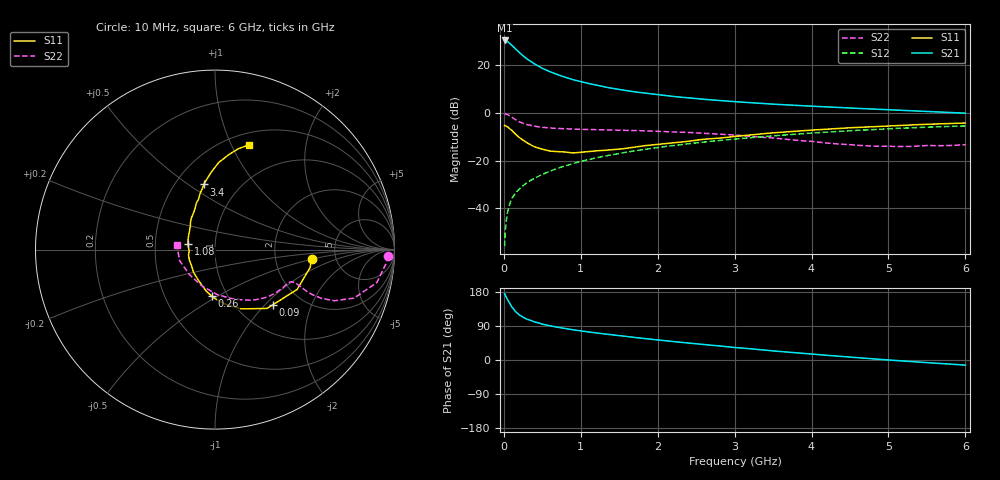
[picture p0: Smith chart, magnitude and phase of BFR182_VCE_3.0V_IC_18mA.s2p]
! Infineon Technologies  Discrete & RF Semiconductors
! BFR182
! VCE =  3.0 V,  IC =  18 mA
! Common Emitter S-Parameters:  Nov 2015
# GHz  S  MA  R  50
!  f  S11  S21  S12  S22
! GHz  MAG  ANG  MAG  ANG  MAG  ANG  MAG  ANG
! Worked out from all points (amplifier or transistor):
!   210 points, 10 MHz to 6 GHz, reference 50 ohm
!   highest |S21| = 30.4 dB at 10 MHz (marker M1)
!   |S21| within 3 dB of that: start of sweep to 134.4 MHz
!   unconditionally stable (mu >= 1): 572.7 MHz to 2.516 GHz
!   at 185 MHz: K = 0.68, MSG = 29.1 dB, |S12| = -32.5 dB
!   at 1.52 GHz: K = 1.05, MAG = 12.0 dB, |S12| = -16.9 dB
!   at 6 GHz: K = 0.89, MSG = 2.7 dB, |S12| = -5.5 dB
!   S11 on the Smith chart (normalised r, x): 10 MHz: 3.29, -0.48; 90 MHz: 1.45, -1.11; 260 MHz: 0.85, -0.47; 1.08 GHz: 0.74, +0.05; 3.4 GHz: 0.69, +0.58; 6 GHz: 0.62, +1.17
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0.01  0.5424 -5.4  32.96 175.2  0.0016 87.8  0.9647 -2.1
0.02  0.5388 -10.8  32.56 170.6  0.0036 82.4  0.9552 -4.8
0.05  0.5085 -25.9  31.14 158.2  0.0085 78.2  0.9202 -11.5
0.09  0.4458 -43.5  27.3 144.9  0.0141 74.2  0.8385 -17.6
0.1  0.4377 -48.5  26.6 141.1  0.0155 73.6  0.8198 -19.3
0.15  0.3605 -66.4  22.05 127.9  0.0207 70.4  0.7235 -23.2
0.2  0.306 -80.4  18.48 119.1  0.0252 70.7  0.6515 -24.6
0.26  0.2607 -93.7  15.19 111.8  0.0306 70.1  0.5952 -24.8
0.3  0.2366 -101.9  13.5 107.6  0.0343 70.3  0.5678 -24.6
0.4  0.1938 -118.8  10.58 100.5  0.0425 71.9  0.5232 -23.5
0.5  0.174 -133.5  8.59 94.6  0.051 72.6  0.4967 -22.8
0.7  0.1544 -157.5  6.312 86.3  0.0688 73.0  0.47 -22.6
0.9  0.1441 -176.5  4.96 79.6  0.0869 72.3  0.4562 -23.3
1.02  0.1499 172.8  4.429 76.2  0.0977 72.0  0.4504 -24.2
1.08  0.1533 168.6  4.204 74.7  0.103 71.8  0.4479 -24.7
1.4  0.1686 148.9  3.284 66.6  0.1316 69.7  0.4365 -28.2
2.02  0.2197 126.8  2.376 52.5  0.1892 64.7  0.4106 -36.9
3.1  0.3315 103.7  1.676 31.4  0.2912 53.8  0.332 -57.8
3.4  0.368 99.6  1.557 26.0  0.3198 50.6  0.3046 -65.8
4.1  0.4446 91.4  1.354 13.9  0.3849 42.3  0.2416 -90.9
5.1  0.54 81.0  1.146 -1.4  0.471 29.8  0.1972 -140.9
6  0.6123 72.2  0.985 -13.5  0.5317 17.4  0.2146 173.2
